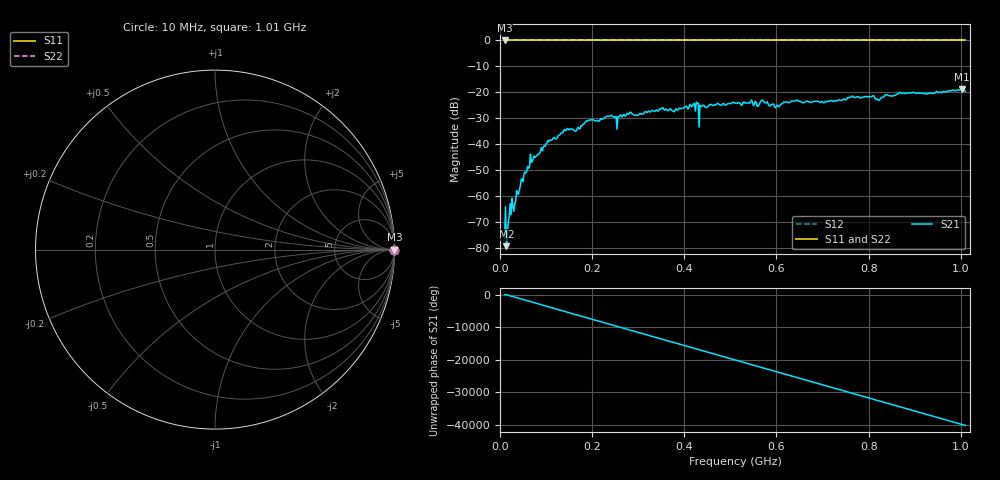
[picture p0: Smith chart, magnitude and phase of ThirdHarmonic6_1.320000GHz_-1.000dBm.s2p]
! 8/16/2025 2:40:32 PM
! C:\ANRITSUVNA\TEMP\TEMP.S2P
! CHANNEL.1
! TR.MEASUREMENT
! RAW.DATA
! RF.CORRECTION.OFF
! AVERAGING.OFF
! IF.BANDWIDTH: 5KHZ
! SWEEPTYPE:  FREQ.SWEEP(Linear)
! Reference Plane Port Info
! PORT:  PORT1  PORT2
! DISTANCE:  0  m  0  m
! TIME:  0  s  0  s
! PHASE.OFFSET:  0  deg.  0  deg.
! LOSS:  0  dB  0  dB
! REF.LOSS:  0  dB  0  dB
! REF.FREQ:  0  Hz  0  Hz
! Power Info
! POWER:  -20  dBm  -20  dBm
! EFF.POWER:  -20  dBm  -20  dBm
! SOURCE.ATTEN:  0  dB  0  dB
! TEST.ATTEN:  0  dB  0  dB
# GHZ S RI R 50.0
! FREQ.GHZ  S11RE  S11IM  S21RE  S21IM  S12RE  S12IM  S22RE  S22IM
!; PortSelection: Port_12
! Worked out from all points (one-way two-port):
!   501 points, 10 MHz to 1.01 GHz, reference 50 ohm
!   highest |S21| = -18.71 dB at 1.002 GHz (marker M1); lowest = -79.3 dB at 14 MHz (marker M2)
!   lowest |S11| = 0.0 dB at 10 MHz (marker M3)
!   |S11| at or under -10 dB: nowhere
!   |S22| runs from 0.0 to 0.0 dB; largest |S21 - S12| = 1.1
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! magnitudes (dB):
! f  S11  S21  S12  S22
! 10 MHz  0.0  -76.3  0.0  0.0
! 14 MHz  0.0  -79.3  0.0  0.0
! 18 MHz  0.0  -69.7  0.0  0.0
! 24 MHz  0.0  -67.2  0.0  0.0
! 70 MHz  0.0  -46.5  0.0  0.0
! 142 MHz  0.0  -34.8  0.0  0.0
! 178 MHz  0.0  -32.9  0.0  0.0
! 236 MHz  0.0  -29.2  0.0  0.0
! 254 MHz  0.0  -34.2  0.0  0.0
! 280 MHz  0.0  -28.3  0.0  0.0
! 344 MHz  0.0  -27.2  0.0  0.0
! 426 MHz  0.0  -23.8  0.0  0.0
! 428 MHz  0.0  -24.3  0.0  0.0
! 436 MHz  0.0  -25.4  0.0  0.0
! 438 MHz  0.0  -25.4  0.0  0.0
! 510 MHz  0.0  -24.2  0.0  0.0
! 570 MHz  0.0  -23.1  0.0  0.0
! 600 MHz  0.0  -25.3  0.0  0.0
! 678 MHz  0.0  -23.7  0.0  0.0
! 844 MHz  0.0  -21.2  0.0  0.0
! 1.002 GHz  0.0  -18.7  0.0  0.0
! 1.01 GHz  0.0  -19.6  0.0  0.0
